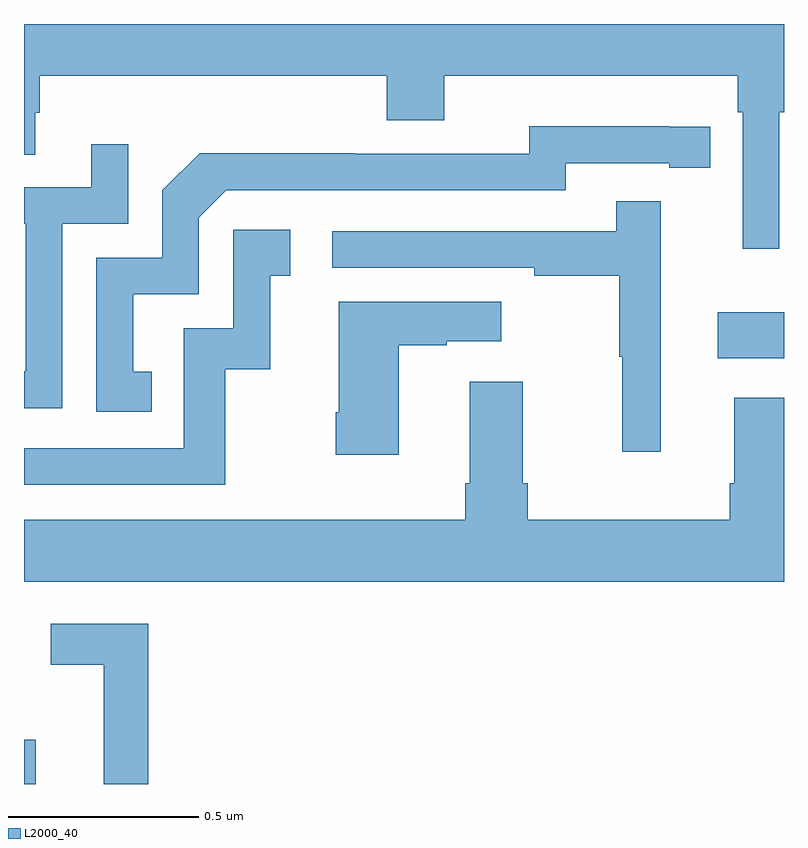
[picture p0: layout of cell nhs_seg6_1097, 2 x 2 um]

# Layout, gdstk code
import gdstk
lib = gdstk.Library(unit=1e-6, precision=1e-09)
def R(c, l, rs):  # rectangles x0, y0, x1, y1
    for r in rs: c.add(gdstk.rectangle(r[:2], r[2:], *l))
def P(c, l, *ps):  # polygons
    for p in ps: c.add(gdstk.Polygon(p, *l))
L2000_40 = (2000, 40)

nhs_seg6_1097 = lib.new_cell('nhs_seg6_1097')
R(nhs_seg6_1097, L2000_40, [(125,917.5,125.031,917.617), (126.825,918.62,127,918.742)])
P(nhs_seg6_1097, L2000_40, [(126.988,919.268),(127,919.268),(127,919.5),(125,919.5),(125,919.156),(125.029,919.156),(125.029,919.266),(125.042,919.266),(125.042,919.364),(125.954,919.364),(125.954,919.247),(126.106,919.247),(126.106,919.364),(126.878,919.364),(126.878,919.268),(126.891,919.268),(126.891,918.909),(126.988,918.909)],
  [(125.336,918.585),(125.287,918.585),(125.287,918.789),(125.46,918.789),(125.46,918.99),(125.532,919.062),(126.426,919.062),(126.426,919.134),(126.698,919.134),(126.698,919.122),(126.806,919.122),(126.806,919.23),(126.698,919.23),(126.698,919.231),(126.33,919.231),(126.33,919.158),(125.87,919.158),(125.87,919.16),(125.462,919.16),(125.364,919.062),(125.364,918.885),(125.19,918.885),(125.19,918.48),(125.336,918.48)],
  [(125.1,918.975),(125.274,918.975),(125.274,919.183),(125.177,919.183),(125.177,919.071),(125,919.071),(125,918.975),(125.004,918.975),(125.004,918.586),(125,918.586),(125,918.489),(125.1,918.489)],
  [(126.676,919.033),(126.559,919.033),(126.559,918.954),(125.811,918.954),(125.811,918.858),(126.343,918.858),(126.343,918.838),(126.567,918.838),(126.567,918.624),(126.574,918.624),(126.574,918.375),(126.676,918.375)],
  [(125.53,918.591),(125.648,918.591),(125.648,918.837),(125.701,918.837),(125.701,918.958),(125.55,918.958),(125.55,918.699),(125.421,918.699),(125.421,918.384),(125,918.384),(125,918.288),(125.53,918.288)],
  [(125.986,918.655),(126.113,918.655),(126.113,918.665),(126.256,918.665),(126.256,918.769),(125.828,918.769),(125.828,918.478),(125.821,918.478),(125.821,918.366),(125.986,918.366)],
  [(127,918.517),(126.869,918.517),(126.869,918.292),(126.857,918.292),(126.857,918.196),(126.326,918.196),(126.326,918.292),(126.313,918.292),(126.313,918.559),(126.173,918.559),(126.173,918.292),(126.161,918.292),(126.161,918.196),(125,918.196),(125,918.032),(127,918.032)],
  [(125.327,917.922),(125.07,917.922),(125.07,917.814),(125.21,917.814),(125.21,917.5),(125.327,917.5)])

lib.write_gds('nhs_seg6_1097.gds')
